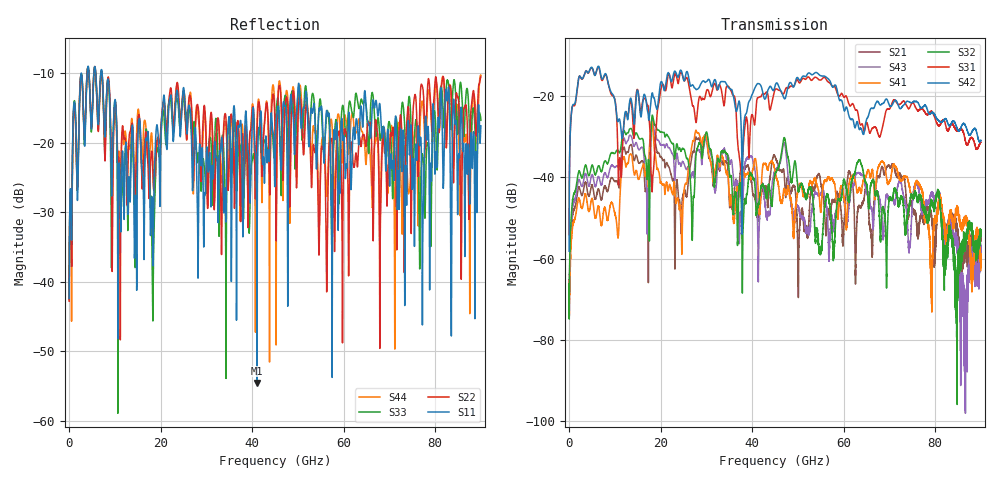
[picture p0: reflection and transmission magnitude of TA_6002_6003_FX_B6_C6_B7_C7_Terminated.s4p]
!Keysight Technologies,N5227B,US51270452,A.15.40.11
!Date: Tuesday, January 25, 2022 11:15:47
!Correction: S11(C  4-Port  )
!S12(C  4-Port  )
!S13(C  4-Port  )
!S14(C  4-Port  )
!S21(C  4-Port  )
!S22(C  4-Port  )
!S23(C  4-Port  )
!S24(C  4-Port  )
!S31(C  4-Port  )
!S32(C  4-Port  )
!S33(C  4-Port  )
!S34(C  4-Port  )
!S41(C  4-Port  )
!S42(C  4-Port  )
!S43(C  4-Port  )
!S44(C  4-Port  )
!S4P File: Measurements: <S11,S12,S13,S14>,
!<S21,S22,S23,S24>,
!<S31,S32,S33,S34>,
!<S41,S42,S43,S44>:
# Hz S  dB  R 50
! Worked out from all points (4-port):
!   9000 points, 10 MHz to 90 GHz, reference 50 ohm
!   strongest paths, dB at 10 MHz, 22.51 GHz, 45.01 GHz, 67.51 GHz, 90 GHz:
!     S42: -58.2, -16.1, -17.5, -21.3, -30.9
!     S31: -54.1, -18.0, -18.4, -29.3, -31.4
!     S32: -67.6, -31.6, -39.2, -44.5, -53.0
!     S41: -68.2, -43.7, -38.5, -37.7, -62.9
!     S43: -66.4, -34.0, -38.2, -44.0, -58.0
!     S21: -65.2, -40.4, -34.9, -39.8, -54.9
!   lowest |S11| = -54.6 dB at 41.06 GHz (marker M1), VSWR 1.00, Z = 49.9 + j0.175 ohm
!   |S11| at or under -10 dB: start of sweep to 3.967 GHz; 5.828 GHz to 6.934 GHz (1.106 GHz wide, 17.3 % of centre); 7.22 GHz to end of sweep (the widest 3 of 4)
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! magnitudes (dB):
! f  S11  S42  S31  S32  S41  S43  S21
! 10 MHz  -42.4  -58.2  -54.1  -67.6  -68.2  -66.4  -65.2
! 4.84 GHz  -17.9  -12.9  -13.1  -37.6  -45.7  -39.9  -42.4
! 18.2 GHz  -28.1  -19.2  -42.5  -24.7  -26.8  -25.7  -26.3
! 21.79 GHz  -14.8  -14.3  -14.5  -30.1  -42.6  -32.7  -37.4
! 41.06 GHz  -54.6  -17.1  -20.8  -48.1  -38.0  -45.4  -49.6
! 46.98 GHz  -14.3  -20.5  -19.3  -30.3  -43.0  -31.5  -38.8
! 90 GHz  -17.6  -30.9  -31.4  -53.0  -62.9  -58.0  -54.9
